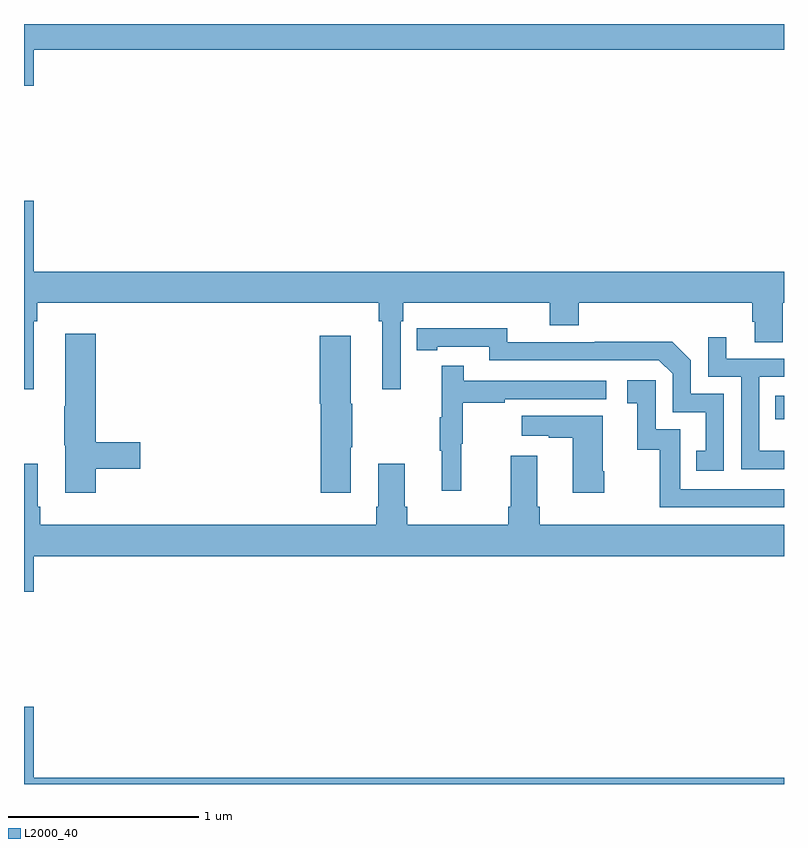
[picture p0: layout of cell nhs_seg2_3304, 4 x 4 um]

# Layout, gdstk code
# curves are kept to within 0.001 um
import gdstk
lib = gdstk.Library(unit=1e-6, precision=1e-09)
def R(c, l, rs):  # rectangles x0, y0, x1, y1
    for r in rs: c.add(gdstk.rectangle(r[:2], r[2:], *l))
def P(c, l, *ps):  # polygons
    for p in ps: c.add(gdstk.Polygon(p, *l))
L2000_40 = (2000, 40)

nhs_seg2_3304 = lib.new_cell('nhs_seg2_3304')
R(nhs_seg2_3304, L2000_40, [(288.955,617.721,289,617.844)])
P(nhs_seg2_3304, L2000_40, [(285.052,619.664),(289,619.664),(289,619.8),(285,619.8),(285,619.476),(285.052,619.476)],
  [(285.052,618.236),(285.071,618.236),(285.071,618.332),(286.867,618.332),(286.867,618.236),(286.886,618.236),(286.886,617.877),(286.983,617.877),(286.983,618.236),(286.997,618.236),(286.997,618.332),(287.768,618.332),(287.768,618.215),(287.921,618.215),(287.921,618.332),(288.833,618.332),(288.833,618.234),(288.845,618.234),(288.845,618.124),(288.993,618.124),(288.993,618.332),(289,618.332),(289,618.496),(285.052,618.496),(285.052,618.871),(285,618.871),(285,617.877),(285.052,617.877)],
  [(288.684,617.853),(288.51,617.853),(288.51,618.03),(288.412,618.128),(288.004,618.128),(288.004,618.126),(287.544,618.126),(287.544,618.199),(287.068,618.198),(287.068,618.082),(287.176,618.082),(287.176,618.102),(287.448,618.102),(287.448,618.03),(288.342,618.03),(288.414,617.958),(288.414,617.757),(288.587,617.757),(288.587,617.553),(288.538,617.553),(288.538,617.448),(288.684,617.448)],
  [(285.377,617.458),(285.613,617.458),(285.613,617.6),(285.377,617.6),(285.377,618.169),(285.218,618.169),(285.218,617.789),(285.211,617.789),(285.211,617.583),(285.218,617.583),(285.218,617.334),(285.377,617.334)],
  [(286.72,617.572),(286.728,617.572),(286.728,617.802),(286.72,617.802),(286.72,618.16),(286.556,618.16),(286.556,617.802),(286.562,617.802),(286.562,617.334),(286.72,617.334)],
  [(289,617.554),(288.87,617.554),(288.87,617.943),(289,617.943),(289,618.039),(288.697,618.039),(288.697,618.151),(288.6,618.151),(288.6,617.943),(288.774,617.943),(288.774,617.457),(289,617.457)],
  [(287.3,617.592),(287.308,617.592),(287.308,617.806),(287.531,617.806),(287.531,617.826),(288.064,617.826),(288.064,617.922),(287.315,617.922),(287.315,618.001),(287.198,618.001),(287.198,617.729),(287.187,617.729),(287.187,617.555),(287.198,617.555),(287.198,617.343),(287.3,617.343)],
  [(289,617.352),(288.453,617.352),(288.453,617.667),(288.324,617.667),(288.324,617.926),(288.174,617.926),(288.174,617.805),(288.227,617.805),(288.227,617.559),(288.345,617.559),(288.345,617.256),(289,617.256)],
  [(288.054,617.446),(288.046,617.446),(288.046,617.737),(287.619,617.737),(287.619,617.633),(287.762,617.633),(287.762,617.623),(287.888,617.623),(287.888,617.334),(288.054,617.334)],
  [(289,617.164),(287.714,617.164),(287.714,617.26),(287.701,617.26),(287.701,617.527),(287.561,617.527),(287.561,617.26),(287.549,617.26),(287.549,617.164),(287.018,617.164),(287.018,617.26),(287.005,617.26),(287.005,617.485),(286.865,617.485),(286.865,617.26),(286.853,617.26),(286.853,617.164),(285.086,617.164),(285.086,617.26),(285.073,617.26),(285.073,617.485),(285,617.485),(285,616.812),(285.052,616.812),(285.052,617),(289,617)],
  [(289,615.832),(285.052,615.832),(285.052,616.207),(285,616.207),(285,615.8),(289,615.8)])

lib.write_gds('nhs_seg2_3304.gds')
